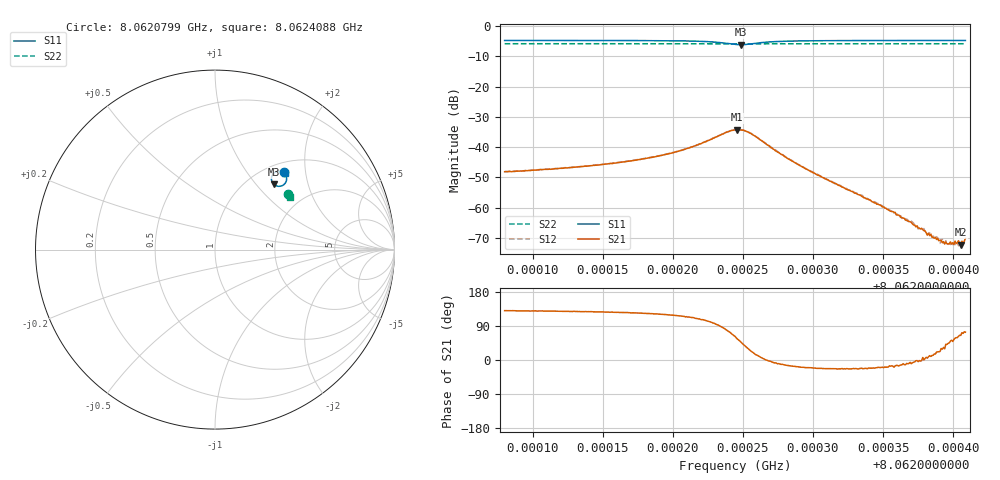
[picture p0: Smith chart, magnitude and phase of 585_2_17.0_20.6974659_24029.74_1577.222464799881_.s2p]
#  HZ  S  RI  R  50.00
! Rohde & Schwarz Vector Network Analyzer
! Rohde-Schwarz,ZNB20-2Port,1311601062101988,3.16
! Created: UTC 3/20/2024, 11:18:17 PM
! freq[Hz]  re:S11  im:S11  re:S21  im:S21  re:S12  im:S12  re:S22  im:S22
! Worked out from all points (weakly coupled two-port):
!   401 points, 8.0620799 GHz to 8.0624088 GHz, reference 50 ohm
!   highest |S21| = -34.23 dB at 8.062246 GHz (marker M1); lowest = -72.2 dB at 8.0624055 GHz (marker M2)
!   lowest |S11| = -6.2 dB at 8.0622485 GHz (marker M3), VSWR 2.92, Z = 65.1 + j62.3 ohm
!   |S11| at or under -10 dB: nowhere
!   |S22| runs from -5.9 to -5.9 dB; largest |S21 - S12| = 0.0013
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8.06207994e9  0.3824 0.4305  -0.00254 0.003  -0.00237 0.00316  0.4055 0.3071
8.06213502e9  0.3881 0.4246  -0.00291 0.0038  -0.00272 0.00397  0.4076 0.3043
8.0621679e9  0.3923 0.4188  -0.00337 0.00478  -0.00308 0.00506  0.4088 0.3023
8.06219009e9  0.3959 0.4118  -0.00369 0.00616  -0.00337 0.00639  0.4095 0.3007
8.06221311e9  0.3992 0.3971  -0.00382 0.00931  -0.00317 0.0095  0.4103 0.2989
8.06223202e9  0.3895 0.3678  -0.000579 0.0151  0.000218 0.0152  0.4101 0.297
8.06224435e9  0.3467 0.3534  0.00899 0.0171  0.0102 0.0166  0.4084 0.2964
8.06224599e9  0.3387 0.3563  0.011 0.016  0.0119 0.0157  0.4082 0.2965
8.06224846e9  0.3279 0.3636  0.0129 0.0142  0.0139 0.0135  0.4079 0.2969
8.06225668e9  0.3145 0.3998  0.0151 0.00582  0.0156 0.00494  0.4082 0.2984
8.06228134e9  0.3508 0.437  0.00643 -0.00162  0.00645 -0.00199  0.4111 0.2983
8.06229942e9  0.3646 0.4367  0.00363 -0.00136  0.00361 -0.00163  0.4121 0.2972
8.0623545e9  0.3806 0.4307  0.000868 -0.000239  0.000849 -0.000375  0.4148 0.2939
8.06237012e9  0.3829 0.4292  0.000567 -9.7e-05  0.000591 -0.000126  0.4153 0.2932
8.06237423e9  0.3835 0.4289  0.000504 -1.3e-05  0.000497 -7.38e-05  0.4155 0.293
8.06237752e9  0.3839 0.4286  0.000459 -1.44e-05  0.000455 -6.22e-05  0.4155 0.2928
8.06238163e9  0.3844 0.4283  0.000353 3.06e-05  0.000357 -1.23e-05  0.4156 0.2925
8.06239231e9  0.3856 0.4273  0.000232 0.000127  0.000265 0.00014  0.4161 0.2919
8.06239313e9  0.3857 0.4272  0.000232 0.000152  0.000233 0.000132  0.416 0.2919
8.06239807e9  0.3863 0.4267  0.000177 0.000209  0.00017 0.000194  0.4163 0.2917
8.06240546e9  0.3871 0.4263  0.000105 0.000223  9.55e-05 0.000259  0.4166 0.2913
8.06240875e9  0.3874 0.426  8.87e-05 0.000298  0.000101 0.000261  0.4167 0.291
